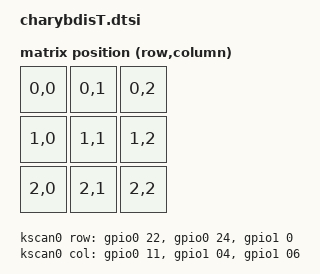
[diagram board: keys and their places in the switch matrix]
/*
 * Copyright (c) 2020 The ZMK Contributors
 *
 * SPDX-License-Identifier: MIT
 */

 #include <dt-bindings/zmk/matrix_transform.h>
 / {
     chosen {
         zephyr,display = &oled;
         zmk,kscan = &kscan0;
         zmk,matrix-transform = &default_transform;
     };
     kscan0: kscan0 {
         compatible = "zmk,kscan-gpio-matrix";
         diode-direction = "col2row";
         wakeup-source;
 
         col-gpios
             = <&gpio0 11 GPIO_ACTIVE_HIGH>
             , <&gpio1 04 GPIO_ACTIVE_HIGH>
             , <&gpio1 06 GPIO_ACTIVE_HIGH>
             ;
         row-gpios
             = <&gpio0 22 (GPIO_ACTIVE_HIGH | GPIO_PULL_DOWN)>
             , <&gpio0 24 (GPIO_ACTIVE_HIGH | GPIO_PULL_DOWN)>
             , <&gpio1 0 (GPIO_ACTIVE_HIGH | GPIO_PULL_DOWN)>
             ;
     };
 
     default_transform: keymap_transform0 {
         compatible = "zmk,matrix-transform";
         columns = <3>; // Length of the "col-gpios" array
         rows = <3>; // Length of the "row-gpios" array
         map = <
         //   Key 1 | Key 2 | Key 3
             RC(0,0) RC(0,1) RC(0,2)
         //   Key 4 | Key 5 | Key 6
             RC(1,0) RC(1,1) RC(1,2)
         //   Key 7 | Key 8 | Key 9
             RC(2,0) RC(2,1) RC(2,2)
         >;
     };
 };
 &pro_micro_i2c {
     status = "okay";
 
     oled: ssd1306@3c {
         compatible = "solomon,ssd1306fb";
         reg = <0x3c>;
         width = <128>;
         height = <32>;
         segment-offset = <0>;
         page-offset = <0>;
         display-offset = <0>;
         multiplex-ratio = <31>;
         segment-remap;
         com-invdir;
         com-sequential;
         prechargep = <0x22>;
     };
 };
